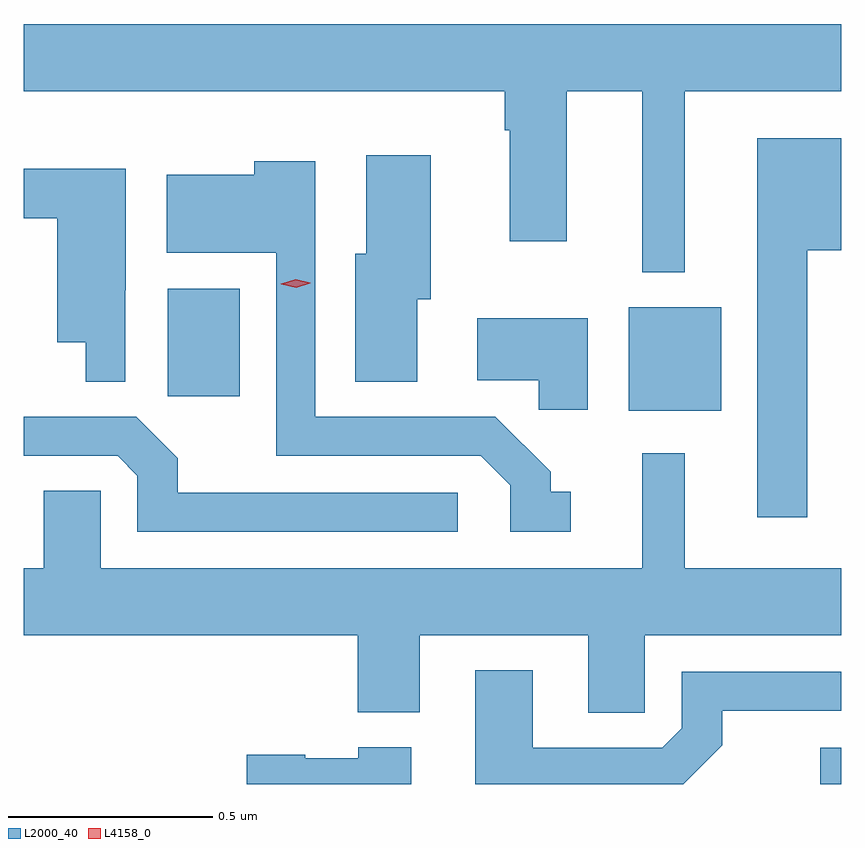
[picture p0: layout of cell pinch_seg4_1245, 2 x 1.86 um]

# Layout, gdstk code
import gdstk
lib = gdstk.Library(unit=1e-6, precision=1e-09)
def R(c, l, rs):  # rectangles x0, y0, x1, y1
    for r in rs: c.add(gdstk.rectangle(r[:2], r[2:], *l))
def P(c, l, *ps):  # polygons
    for p in ps: c.add(gdstk.Polygon(p, *l))
L2000_40 = (2000, 40)
L4158_0 = (4158, 0)

pinch_seg4_1245 = lib.new_cell('pinch_seg4_1245')
R(pinch_seg4_1245, L2000_40, [(319.455,819.1,319.506,819.189), (318.986,820.013,319.213,820.267), (317.858,820.049,318.034,820.312)])
P(pinch_seg4_1245, L2000_40, [(319.123,820.796),(319.506,820.796),(319.506,820.96),(317.506,820.96),(317.506,820.796),(318.683,820.796),(318.683,820.7),(318.695,820.7),(318.695,820.428),(318.835,820.428),(318.835,820.796),(319.019,820.796),(319.019,820.352),(319.123,820.352)],
  [(319.423,820.406),(319.506,820.406),(319.506,820.681),(319.301,820.681),(319.301,819.753),(319.423,819.753)],
  [(318.469,820.286),(318.502,820.286),(318.502,820.639),(318.344,820.639),(318.344,820.398),(318.317,820.398),(318.317,820.084),(318.469,820.084)],
  [(318.844,819.815),(318.795,819.815),(318.795,819.864),(318.66,819.999),(318.219,819.999),(318.219,820.624),(318.07,820.624),(318.07,820.591),(317.855,820.591),(317.855,820.4),(318.123,820.4),(318.123,819.903),(318.624,819.903),(318.696,819.831),(318.696,819.717),(318.844,819.717)],
  [(317.754,820.308),(317.755,820.308),(317.755,820.606),(317.506,820.606),(317.506,820.484),(317.588,820.484),(317.588,820.181),(317.657,820.181),(317.657,820.084),(317.754,820.084)],
  [(318.886,820.24),(318.615,820.24),(318.615,820.088),(318.766,820.088),(318.766,820.016),(318.886,820.016)],
  [(318.568,819.813),(317.883,819.813),(317.883,819.897),(317.781,819.999),(317.506,819.999),(317.506,819.903),(317.736,819.903),(317.784,819.855),(317.784,819.717),(318.568,819.717)],
  [(319.026,819.464),(319.506,819.464),(319.506,819.628),(319.123,819.628),(319.123,819.91),(319.019,819.91),(319.019,819.628),(317.694,819.628),(317.694,819.818),(317.555,819.818),(317.555,819.628),(317.506,819.628),(317.506,819.464),(318.323,819.464),(318.323,819.275),(318.475,819.275),(318.475,819.464),(318.887,819.464),(318.887,819.274),(319.026,819.274)],
  [(319.215,819.195),(319.215,819.279),(319.506,819.279),(319.506,819.375),(319.116,819.375),(319.116,819.237),(319.068,819.189),(318.751,819.189),(318.751,819.379),(318.611,819.379),(318.611,819.1),(319.12,819.1)],
  [(318.454,819.19),(318.324,819.19),(318.324,819.163),(318.194,819.163),(318.194,819.171),(318.051,819.171),(318.051,819.1),(318.454,819.1)])
P(pinch_seg4_1245, L4158_0, [(318.172,820.315),(318.136,820.323),(318.135,820.324),(318.136,820.324),(318.171,820.335),(318.207,820.327),(318.207,820.327),(318.207,820.326)])

lib.write_gds('pinch_seg4_1245.gds')
